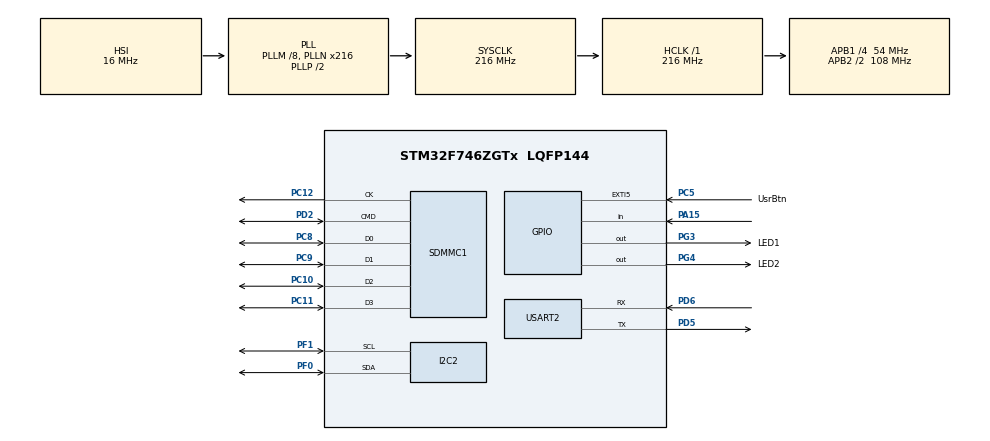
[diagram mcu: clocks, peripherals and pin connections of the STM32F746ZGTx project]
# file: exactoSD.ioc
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Dma.Request0=SDMMC1_RX
Dma.Request1=SDMMC1_TX
Dma.SDMMC1_RX.0.Direction=DMA_PERIPH_TO_MEMORY
Dma.SDMMC1_RX.0.FIFOMode=DMA_FIFOMODE_ENABLE
Dma.SDMMC1_RX.0.FIFOThreshold=DMA_FIFO_THRESHOLD_FULL
Dma.SDMMC1_RX.0.Instance=DMA2_Stream3
Dma.SDMMC1_RX.0.MemBurst=DMA_MBURST_INC4
Dma.SDMMC1_RX.0.MemDataAlignment=DMA_MDATAALIGN_WORD
Dma.SDMMC1_RX.0.MemInc=DMA_MINC_ENABLE
Dma.SDMMC1_RX.0.Mode=DMA_PFCTRL
Dma.SDMMC1_RX.0.PeriphBurst=DMA_PBURST_INC4
Dma.SDMMC1_RX.0.PeriphDataAlignment=DMA_PDATAALIGN_WORD
Dma.SDMMC1_RX.0.PeriphInc=DMA_PINC_DISABLE
Dma.SDMMC1_RX.0.Priority=DMA_PRIORITY_LOW
Dma.SDMMC1_TX.1.Direction=DMA_MEMORY_TO_PERIPH
Dma.SDMMC1_TX.1.FIFOMode=DMA_FIFOMODE_ENABLE
Dma.SDMMC1_TX.1.FIFOThreshold=DMA_FIFO_THRESHOLD_FULL
Dma.SDMMC1_TX.1.Instance=DMA2_Stream6
Dma.SDMMC1_TX.1.MemBurst=DMA_MBURST_INC4
Dma.SDMMC1_TX.1.MemDataAlignment=DMA_MDATAALIGN_WORD
Dma.SDMMC1_TX.1.MemInc=DMA_MINC_ENABLE
Dma.SDMMC1_TX.1.Mode=DMA_PFCTRL
Dma.SDMMC1_TX.1.PeriphBurst=DMA_PBURST_INC4
Dma.SDMMC1_TX.1.PeriphDataAlignment=DMA_PDATAALIGN_WORD
Dma.SDMMC1_TX.1.PeriphInc=DMA_PINC_DISABLE
Dma.SDMMC1_TX.1.Priority=DMA_PRIORITY_LOW
FATFS.BSP.number=1
FATFS.USE_DMA_CODE_SD=1
FATFS._USE_FIND=0
FATFS0.BSP.STBoard=false
FATFS0.BSP.api=Unknown
FATFS0.BSP.i2caddr=0
FATFS0.BSP.instance=PA15
FATFS0.BSP.ip=GPIO
FATFS0.BSP.mode=Input
FATFS0.BSP.name=Detect_SDIO
FATFS0.BSP.solution=PA15
I2C2.Timing=0x20404768
Mcu.Family=STM32F7
Mcu.Name=STM32F746ZGTx
Mcu.Package=LQFP144
NVIC.DMA2_Stream3_IRQn=true\:0\:0\:false\:false\:true\:false\:true
NVIC.DMA2_Stream6_IRQn=true\:0\:0\:false\:false\:true\:false\:true
NVIC.EXTI9_5_IRQn=true\:0\:0\:false\:false\:true\:true\:true
NVIC.PriorityGroup=NVIC_PRIORITYGROUP_4
NVIC.SDMMC1_IRQn=true\:0\:0\:false\:false\:true\:true\:true
PA13.Mode=Serial_Wire
PA13.Signal=SYS_JTMS-SWDIO
PA14.Mode=Serial_Wire
PA14.Signal=SYS_JTCK-SWCLK
PA15.Signal=GPIO_Input
PC10.Mode=SD_4_bits_Wide_bus
PC10.Signal=SDMMC1_D2
PC11.Mode=SD_4_bits_Wide_bus
PC11.Signal=SDMMC1_D3
PC12.Mode=SD_4_bits_Wide_bus
PC12.Signal=SDMMC1_CK
PC14/OSC32_IN.Mode=LSE-External-Oscillator
PC14/OSC32_IN.Signal=RCC_OSC32_IN
PC15/OSC32_OUT.Mode=LSE-External-Oscillator
PC15/OSC32_OUT.Signal=RCC_OSC32_OUT
PC5.GPIO_Label=UsrBtn
PC5.Signal=GPXTI5
PC8.Mode=SD_4_bits_Wide_bus
PC8.Signal=SDMMC1_D0
PC9.Mode=SD_4_bits_Wide_bus
PC9.Signal=SDMMC1_D1
PD2.Mode=SD_4_bits_Wide_bus
PD2.Signal=SDMMC1_CMD
PD5.Mode=Asynchronous
PD5.Signal=USART2_TX
PD6.Mode=Asynchronous
PD6.Signal=USART2_RX
PF0.Mode=I2C
PF0.Signal=I2C2_SDA
PF1.Mode=I2C
PF1.Signal=I2C2_SCL
PG3.GPIO_Label=LED1
PG3.Signal=GPIO_Output
PG4.GPIO_Label=LED2
PG4.Signal=GPIO_Output
PH0/OSC_IN.Mode=HSE-External-Clock-Source
PH0/OSC_IN.Signal=RCC_OSC_IN
PH1/OSC_OUT.Mode=HSE-External-Clock-Source
PH1/OSC_OUT.Signal=RCC_OSC_OUT
ProjectManager.HeapSize=0x200
ProjectManager.StackSize=0x400
ProjectManager.TargetToolchain=STM32CubeIDE
RCC.AHBFreq_Value=216000000
RCC.APB1CLKDivider=RCC_HCLK_DIV4
RCC.APB1Freq_Value=54000000
RCC.APB1TimFreq_Value=108000000
RCC.APB2CLKDivider=RCC_HCLK_DIV2
RCC.APB2Freq_Value=108000000
RCC.APB2TimFreq_Value=216000000
RCC.CortexFreq_Value=216000000
RCC.HCLKFreq_Value=216000000
RCC.HSE_VALUE=25000000
RCC.HSI_VALUE=16000000
RCC.PLLM=8
RCC.PLLN=216
RCC.PLLQ=9
RCC.SDMMCClockSelection=RCC_SDMMC1CLKSOURCE_CLK48
RCC.SYSCLKFreq_VALUE=216000000
RCC.SYSCLKSource=RCC_SYSCLKSOURCE_PLLCLK
RCC.USBFreq_Value=48000000
RCC.VCOOutputFreq_Value=432000000
USART2.VirtualMode-Asynchronous=VM_ASYNC
VP_FATFS_VS_SDIO.Mode=SDIO
board=custom

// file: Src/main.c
/* USER CODE BEGIN Header */
/**
  ******************************************************************************
  * @file           : main.c
  * @brief          : Main program body
  ******************************************************************************
  * @attention
  *
  * <h2><center>&copy; Copyright (c) 2019 STMicroelectronics.
  * All rights reserved.</center></h2>
  *
  * This software component is licensed by ST under Ultimate Liberty license
  * SLA0044, the "License"; You may not use this file except in compliance with
  * the License. You may obtain a copy of the License at:
  *                             www.st.com/SLA0044
  *
  ******************************************************************************
  */
/* USER CODE END Header */

#include "main.h"
#include "fatfs.h"

/* USER CODE BEGIN Includes */

#include "SDcardFun.h"
#include "ExSuppFun.h"
#include "exacto_struct.h"

/* USER CODE END Includes */

/* USER CODE BEGIN PD */

#define I2C_mode
#define I2C_mode_read
#define UART_mode

#define SD_mode
#define Led_mode

/* USER CODE END PD */

/* USER CODE BEGIN PM */

#define DELAY_100HZ	10
#define DELAY_1HZ	1000
#define I2C_RECEIVE_CNT	(uint16_t)380
#define I2C_RECEIVE_TMT	10
#define I2C_TRANSMIT_TMT 10
#define I2C_TRANSMIT_CNT 4

#define BTN_SILENCE_TIME	100

#define LED_EXMODE_BLNK_TIME	5
#define LED_EXMODE_SLOW_TIME 5000
#define LED_EXMODE_MEDI_TIME 1000
#define LED_EXMODE_FAST_TIME 200

/* USER CODE END PM */

I2C_HandleTypeDef hi2c2;

SD_HandleTypeDef hsd1;
DMA_HandleTypeDef hdma_sdmmc1_rx;
DMA_HandleTypeDef hdma_sdmmc1_tx;

UART_HandleTypeDef huart2;

/* USER CODE BEGIN PV */

__IO uint32_t BTN_LastClckHappen;
__IO uint32_t LED_EXMODE_LstEVTm;

uint8_t ptI2Cbuffer2transmit[I2C_TRANSMIT_CNT] = {0};
uint8_t ptI2Cbuffer4receive[I2C_RECEIVE_CNT] = {0};

exactoSD_modes BaseMode = exactoSD_init;

__IO uint8_t flgBtnPress = 0;
__IO uint8_t TargetI2Cdevice = 0xff;

#ifdef SD_mode
SDcardFile_HandleTypeDef sdcfhtd;
				  //01234567890123456789
#endif
				  //0123456789012345678
TCHAR FileName[] = "/dtss/ss0000.txt";
TCHAR DirrName[] = "/dtss";
uint8_t BufferTMP[10];
__IO uint8_t I2Cflag = 0x00;

/* USER CODE END PV */

void SystemClock_Config(void);
static void MX_GPIO_Init(void);
static void MX_DMA_Init(void);
static void MX_I2C2_Init(void);
static void MX_SDMMC1_SD_Init(void);
static void MX_USART2_UART_Init(void);
/* USER CODE BEGIN PFP */

#ifdef I2C_mode
static uint8_t GetExactoIMUaddress(void);
static uint8_t SetExactoIMUmode(uint8_t mode);
static uint8_t GetExactoIMUdata(void);
#endif

#ifdef Led_mode
static void LedSignalOn(void);
#endif

#ifdef SD_mode
static void InitNewSession(void);
static void CloseSession(void);
static void DataHeaderWtiter(const uint8_t mode);
#endif

/* USER CODE END PFP */

int main(void)
{
  /* USER CODE BEGIN 1 */

#ifdef I2C_mode
	ptI2Cbuffer2transmit[1] = 2; // 1 read or 2 write
	ptI2Cbuffer2transmit[2] = READSENSMODE_ES32A;
	ptI2Cbuffer2transmit[3] = ALLWAITING_ESM;

#endif

//#ifdef SD_mode
//	UINT I2CgetDTcnt;
//#endif

  /* USER CODE END 1 */

  /* MCU Configuration--------------------------------------------------------*/

  /* Reset of all peripherals, Initializes the Flash interface and the Systick. */
  HAL_Init();

  /* Configure the system clock */
  SystemClock_Config();

  /* Initialize all configured peripherals */
  MX_GPIO_Init();
  MX_DMA_Init();
  MX_I2C2_Init();
  MX_SDMMC1_SD_Init();
  MX_FATFS_Init();
  MX_USART2_UART_Init();
  /* USER CODE BEGIN 2 */
  BaseMode = exactoSD_erro;
  BTN_LastClckHappen = HAL_GetTick();
  LED_EXMODE_LstEVTm = HAL_GetTick();

#ifdef I2C_mode
  TargetI2Cdevice = GetExactoIMUaddress();
#endif

#ifdef SD_mode
  if(SDcardSelfTest(&sdcfhtd) == SDcard_success)
  {
	  BaseMode = exactoSD_init;
#endif
#ifdef I2C_mode
	  if(TargetI2Cdevice != 0xff)
	  {
#endif
#ifdef SD_mode
		  BaseMode = exactoSD_wait;
		  InitNewSession();
#endif
#ifdef Led_mode
		 // LedSignalOn();
#endif
#ifdef I2C_mode
	  }
#endif
#ifdef SD_mode
	  __NOP();
  }
#endif
  __NOP();

  /* USER CODE END 2 */

  /* Infinite loop */
  while (1)
  {

    /* USER CODE BEGIN 3 */
	  switch (BaseMode)
		{
	  case exactoSD_init:
		  BlinkLed(50);
		  HAL_Delay(4950);
		  break;
	  case exactoSD_erro:
		  BlinkLed(50);
		  HAL_Delay(50);
		  BlinkLed(50);
		  HAL_Delay(4850);
		  break;
	  case exactoSD_wait:
		  if(flgBtnPress)
		  {
			  flgBtnPress = 0;
#ifdef SD_mode
			  CloseSession();
			  InitNewSession();
#endif
#ifdef I2C_mode_read
			  SetExactoIMUmode(0);
#endif
		  }
		  if((HAL_GetTick() - LED_EXMODE_LstEVTm) > LED_EXMODE_MEDI_TIME)
		  {
			  LED_EXMODE_LstEVTm = HAL_GetTick();
			  BlinkLed(LED_EXMODE_BLNK_TIME);
			  HAL_Delay(50);
			  BlinkLed(LED_EXMODE_BLNK_TIME);
			  HAL_Delay(LED_EXMODE_MEDI_TIME - 50 - 2*LED_EXMODE_BLNK_TIME);
		  }
		  else
		  {
			  HAL_Delay(LED_EXMODE_MEDI_TIME);
		  }
		  break;
	  case exactoSD_meas:
		  if(flgBtnPress)
		  {
			  flgBtnPress = 0;
#ifdef I2C_mode_read
			  SetExactoIMUmode(1);
#endif
		  }
		  else
		  {
#ifdef I2C_mode_read
			  GetExactoIMUdata();
#endif
		  }
		  if((HAL_GetTick() - LED_EXMODE_LstEVTm) > LED_EXMODE_FAST_TIME)
		  {
			  LED_EXMODE_LstEVTm = HAL_GetTick();
			  BlinkLed(LED_EXMODE_BLNK_TIME);
			  HAL_Delay(10 - LED_EXMODE_BLNK_TIME);
		  }
		  else
		  {
			  HAL_Delay(10);
		  }
		  break;
		}
  }
  /* USER CODE END 3 */
}

void SystemClock_Config(void)
{
  RCC_OscInitTypeDef RCC_OscInitStruct = {0};
  RCC_ClkInitTypeDef RCC_ClkInitStruct = {0};
  RCC_PeriphCLKInitTypeDef PeriphClkInitStruct = {0};

  /** Configure LSE Drive Capability
  */
  HAL_PWR_EnableBkUpAccess();
  /** Configure the main internal regulator output voltage
  */
  __HAL_RCC_PWR_CLK_ENABLE();
  __HAL_PWR_VOLTAGESCALING_CONFIG(PWR_REGULATOR_VOLTAGE_SCALE1);
  /** Initializes the CPU, AHB and APB busses clocks
  */
  RCC_OscInitStruct.OscillatorType = RCC_OSCILLATORTYPE_HSI;
  RCC_OscInitStruct.HSIState = RCC_HSI_ON;
  RCC_OscInitStruct.HSICalibrationValue = RCC_HSICALIBRATION_DEFAULT;
  RCC_OscInitStruct.PLL.PLLState = RCC_PLL_ON;
  RCC_OscInitStruct.PLL.PLLSource = RCC_PLLSOURCE_HSI;
  RCC_OscInitStruct.PLL.PLLM = 8;
  RCC_OscInitStruct.PLL.PLLN = 216;
  RCC_OscInitStruct.PLL.PLLP = RCC_PLLP_DIV2;
  RCC_OscInitStruct.PLL.PLLQ = 9;
  if (HAL_RCC_OscConfig(&RCC_OscInitStruct) != HAL_OK)
  {
    Error_Handler();
  }
  /** Activate the Over-Drive mode
  */
  if (HAL_PWREx_EnableOverDrive() != HAL_OK)
  {
    Error_Handler();
  }
  /** Initializes the CPU, AHB and APB busses clocks
  */
  RCC_ClkInitStruct.ClockType = RCC_CLOCKTYPE_HCLK|RCC_CLOCKTYPE_SYSCLK
                              |RCC_CLOCKTYPE_PCLK1|RCC_CLOCKTYPE_PCLK2;
  RCC_ClkInitStruct.SYSCLKSource = RCC_SYSCLKSOURCE_PLLCLK;
  RCC_ClkInitStruct.AHBCLKDivider = RCC_SYSCLK_DIV1;
  RCC_ClkInitStruct.APB1CLKDivider = RCC_HCLK_DIV4;
  RCC_ClkInitStruct.APB2CLKDivider = RCC_HCLK_DIV2;

  if (HAL_RCC_ClockConfig(&RCC_ClkInitStruct, FLASH_LATENCY_7) != HAL_OK)
  {
    Error_Handler();
  }
  PeriphClkInitStruct.PeriphClockSelection = RCC_PERIPHCLK_USART2|RCC_PERIPHCLK_I2C2
                              |RCC_PERIPHCLK_SDMMC1|RCC_PERIPHCLK_CLK48;
  PeriphClkInitStruct.Usart2ClockSelection = RCC_USART2CLKSOURCE_PCLK1;
  PeriphClkInitStruct.I2c2ClockSelection = RCC_I2C2CLKSOURCE_PCLK1;
  PeriphClkInitStruct.Clk48ClockSelection = RCC_CLK48SOURCE_PLL;
  PeriphClkInitStruct.Sdmmc1ClockSelection = RCC_SDMMC1CLKSOURCE_CLK48;
  if (HAL_RCCEx_PeriphCLKConfig(&PeriphClkInitStruct) != HAL_OK)
  {
    Error_Handler();
  }
}

static void MX_I2C2_Init(void)
{

  hi2c2.Instance = I2C2;
  hi2c2.Init.Timing = 0x20404768;
  hi2c2.Init.OwnAddress1 = 0;
  hi2c2.Init.AddressingMode = I2C_ADDRESSINGMODE_7BIT;
  hi2c2.Init.DualAddressMode = I2C_DUALADDRESS_DISABLE;
  hi2c2.Init.OwnAddress2 = 0;
  hi2c2.Init.OwnAddress2Masks = I2C_OA2_NOMASK;
  hi2c2.Init.GeneralCallMode = I2C_GENERALCALL_DISABLE;
  hi2c2.Init.NoStretchMode = I2C_NOSTRETCH_DISABLE;
  if (HAL_I2C_Init(&hi2c2) != HAL_OK)
  {
    Error_Handler();
  }
  /** Configure Analogue filter
  */
  if (HAL_I2CEx_ConfigAnalogFilter(&hi2c2, I2C_ANALOGFILTER_ENABLE) != HAL_OK)
  {
    Error_Handler();
  }
  /** Configure Digital filter
  */
  if (HAL_I2CEx_ConfigDigitalFilter(&hi2c2, 0) != HAL_OK)
  {
    Error_Handler();
  }

}

static void MX_SDMMC1_SD_Init(void)
{

  hsd1.Instance = SDMMC1;
  hsd1.Init.ClockEdge = SDMMC_CLOCK_EDGE_RISING;
  hsd1.Init.ClockBypass = SDMMC_CLOCK_BYPASS_DISABLE;
  hsd1.Init.ClockPowerSave = SDMMC_CLOCK_POWER_SAVE_DISABLE;
  hsd1.Init.BusWide = SDMMC_BUS_WIDE_1B;
  hsd1.Init.HardwareFlowControl = SDMMC_HARDWARE_FLOW_CONTROL_DISABLE;
  hsd1.Init.ClockDiv = 0;
  /* USER CODE BEGIN SDMMC1_Init 2 */
  //BSP_SD_Init();
  //HAL_SD_MspInit(&hsd1);
  //BSP_SD_Init();
  /* USER CODE END SDMMC1_Init 2 */

}

static void MX_USART2_UART_Init(void)
{

  huart2.Instance = USART2;
  huart2.Init.BaudRate = 115200;
  huart2.Init.WordLength = UART_WORDLENGTH_8B;
  huart2.Init.StopBits = UART_STOPBITS_1;
  huart2.Init.Parity = UART_PARITY_NONE;
  huart2.Init.Mode = UART_MODE_TX_RX;
  huart2.Init.HwFlowCtl = UART_HWCONTROL_NONE;
  huart2.Init.OverSampling = UART_OVERSAMPLING_16;
  huart2.Init.OneBitSampling = UART_ONE_BIT_SAMPLE_DISABLE;
  huart2.AdvancedInit.AdvFeatureInit = UART_ADVFEATURE_NO_INIT;
  if (HAL_UART_Init(&huart2) != HAL_OK)
  {
    Error_Handler();
  }

}

static void MX_DMA_Init(void)
{

  /* DMA controller clock enable */
  __HAL_RCC_DMA2_CLK_ENABLE();

  /* DMA interrupt init */
  /* DMA2_Stream3_IRQn interrupt configuration */
  HAL_NVIC_SetPriority(DMA2_Stream3_IRQn, 0, 0);
  HAL_NVIC_EnableIRQ(DMA2_Stream3_IRQn);
  /* DMA2_Stream6_IRQn interrupt configuration */
  HAL_NVIC_SetPriority(DMA2_Stream6_IRQn, 0, 0);
  HAL_NVIC_EnableIRQ(DMA2_Stream6_IRQn);

}

static void MX_GPIO_Init(void)
{
  GPIO_InitTypeDef GPIO_InitStruct = {0};

  /* GPIO Ports Clock Enable */
  __HAL_RCC_GPIOC_CLK_ENABLE();
  __HAL_RCC_GPIOF_CLK_ENABLE();
  __HAL_RCC_GPIOH_CLK_ENABLE();
  __HAL_RCC_GPIOG_CLK_ENABLE();
  __HAL_RCC_GPIOA_CLK_ENABLE();
  __HAL_RCC_GPIOD_CLK_ENABLE();

  /*Configure GPIO pin Output Level */
  HAL_GPIO_WritePin(GPIOG, LED1_Pin|LED2_Pin, GPIO_PIN_RESET);

  /*Configure GPIO pin : UsrBtn_Pin */
  GPIO_InitStruct.Pin = UsrBtn_Pin;
  GPIO_InitStruct.Mode = GPIO_MODE_IT_RISING;
  GPIO_InitStruct.Pull = GPIO_NOPULL;
  HAL_GPIO_Init(UsrBtn_GPIO_Port, &GPIO_InitStruct);

  /*Configure GPIO pins : LED1_Pin LED2_Pin */
  GPIO_InitStruct.Pin = LED1_Pin|LED2_Pin;
  GPIO_InitStruct.Mode = GPIO_MODE_OUTPUT_PP;
  GPIO_InitStruct.Pull = GPIO_NOPULL;
  GPIO_InitStruct.Speed = GPIO_SPEED_FREQ_LOW;
  HAL_GPIO_Init(GPIOG, &GPIO_InitStruct);

  /*Configure GPIO pin : PA15 */
  GPIO_InitStruct.Pin = GPIO_PIN_15;
  GPIO_InitStruct.Mode = GPIO_MODE_INPUT;
  GPIO_InitStruct.Pull = GPIO_NOPULL;
  HAL_GPIO_Init(GPIOA, &GPIO_InitStruct);

  /* EXTI interrupt init*/
  HAL_NVIC_SetPriority(EXTI9_5_IRQn, 0, 0);
  HAL_NVIC_EnableIRQ(EXTI9_5_IRQn);

}

/* USER CODE BEGIN 4 */

void BlinkLed(uint32_t delay)
{
	HAL_GPIO_TogglePin(LED1_GPIO_Port, LED2_Pin);
	HAL_Delay(delay);
	HAL_GPIO_TogglePin(LED1_GPIO_Port, LED2_Pin);
}
void BtnPress_Callback(void)
{
	if((HAL_GetTick() - BTN_LastClckHappen) > BTN_SILENCE_TIME)
	{
	flgBtnPress = 1;
	BTN_LastClckHappen = HAL_GetTick();
	switch (BaseMode)
	{
		case exactoSD_wait:
			BaseMode = exactoSD_meas;
			break;
		case exactoSD_meas:
			BaseMode = exactoSD_wait;
			break;
		case exactoSD_erro:
		case exactoSD_init:
			break;
	}
	}
}
#ifdef Led_mode
static void LedSignalOn(void)
{
	HAL_GPIO_WritePin(LED2_GPIO_Port, LED2_Pin,GPIO_PIN_SET);
}
#endif

#ifdef SD_mode
static uint8_t GetExactoIMUaddress(void)
{
	  uint16_t possibleIndex;
	  for ( possibleIndex = 0x01; possibleIndex < 127; possibleIndex++)
	  {
		  if(HAL_I2C_IsDeviceReady(&hi2c2,(possibleIndex<<1),1,100) == HAL_OK)
		  {
			  return possibleIndex;
		  }
		  else
			  __NOP();
	  }
	  return 0xff;
}
static void InitNewSession(void)
{
	  SDcardOpenDir(&sdcfhtd, DirrName);
	  uint16_t iterator = 1;
	  while(SDcardCountFiles(&sdcfhtd,DirrName,FileName) != 0)
	  {
		  uint8_t order = Dec_Convert(&BufferTMP[0],(int)iterator++);
		  for(uint8_t i = 0; i < order; i++)	FileName[12 - order + i] = BufferTMP[10 - order + i];
	  }
	  SDcardOpenFile2write(&sdcfhtd, FileName);
	  UINT getmsglen;
	  uint8_t initstr[] = "new session\n";
	  SDcardWrite2file(&sdcfhtd, initstr, (UINT)sizeof(initstr), &getmsglen);
}
static void CloseSession(void)
{
	SDcardCloseFile(&sdcfhtd);
}
static void DataHeaderWtiter(const uint8_t mode)
{
	UINT getmsglen;
	switch (mode)
	{
	case 0:
		SDcardWrite2file(&sdcfhtd, (uint8_t*)"err_unknw\n", (UINT)10, &getmsglen);
		break;
	case 1:
		SDcardWrite2file(&sdcfhtd, (uint8_t*)"cmd_stopp\n", (UINT)10, &getmsglen);
		break;
	case 2:
		SDcardWrite2file(&sdcfhtd, (uint8_t*)"err_stopp\n", (UINT)10, &getmsglen);
		break;
	case 3:
		SDcardWrite2file(&sdcfhtd, (uint8_t*)"cmd_start\n", (UINT)10, &getmsglen);
		break;
	case 4:
		SDcardWrite2file(&sdcfhtd, (uint8_t*)"err_start\n", (UINT)10, &getmsglen);
		break;
	default:
		return;
	}

}
#endif

#ifdef I2C_mode
static uint8_t SetExactoIMUmode(uint8_t mode)
{
	uint8_t command = 0;
	switch (mode)
	{
	case 0:
		ptI2Cbuffer2transmit[3] = ALLWAITING_ESM;
		command = 1;
		break;
	case 1:
		ptI2Cbuffer2transmit[3] = ONLYLSM303_ESM_FST;
		command = 3;
		break;
	case 2:
		ptI2Cbuffer2transmit[3] = ALLRUNNING_ESM_FST;
		command = 3;
		break;
	}
	if(HAL_I2C_Master_Transmit(&hi2c2, (TargetI2Cdevice<<1), ptI2Cbuffer2transmit, I2C_TRANSMIT_CNT, I2C_TRANSMIT_TMT)== HAL_OK)
	{
		DataHeaderWtiter(command);
	}
	else
	{
		if(command)
		{
			command++;
			DataHeaderWtiter(command);
		}
		else
			DataHeaderWtiter(0);
	}
	HAL_Delay(100);

	return 1;
}
static uint8_t GetExactoIMUdata(void)
{
	if(HAL_I2C_Master_Receive(&hi2c2, (TargetI2Cdevice<<1), ptI2Cbuffer4receive, I2C_RECEIVE_CNT, I2C_RECEIVE_TMT) == HAL_OK)
	{
		UINT getmsglen;
		SDcardWrite2fileln(&sdcfhtd, ptI2Cbuffer4receive, (UINT)I2C_RECEIVE_CNT, &getmsglen);
	}
	else
	{
		UINT getmsglen;
		uint8_t initstr[] = "no data\n";
		SDcardWrite2file(&sdcfhtd, initstr, (UINT)sizeof(initstr), &getmsglen);
	}
	return 1;
}
#endif

/* USER CODE END 4 */

void Error_Handler(void)
{
}

/************************ (C) COPYRIGHT STMicroelectronics *****END OF FILE****/
